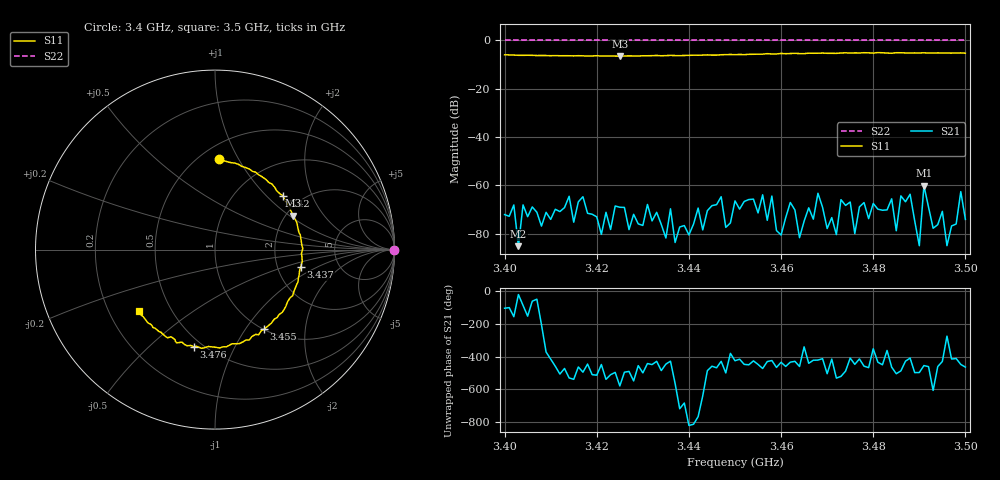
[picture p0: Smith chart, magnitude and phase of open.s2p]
!Created with skrf (http://scikit-rf.org).
# MHz S RI R 50.0
!freq ReS11 ImS11 ReS21 ImS21 ReS12 ImS12 ReS22 ImS22
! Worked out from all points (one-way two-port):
!   101 points, 3.4 GHz to 3.5 GHz, reference 50 ohm
!   highest |S21| = -60.09 dB at 3.491 GHz (marker M1); lowest = -85.1 dB at 3.403 GHz (marker M2)
!   lowest |S11| = -6.5 dB at 3.425 GHz (marker M3), VSWR 2.80, Z = 109 + j53.1 ohm
!   |S11| at or under -10 dB: nowhere
!   |S22| runs from 0.0 to 0.0 dB; largest |S21 - S12| = 0.00099
!   S11 on the Smith chart (normalised r, x): 3.4 GHz: 0.61, +0.83; 3.42 GHz: 1.60, +1.26; 3.437 GHz: 2.71, -0.68; 3.455 GHz: 1.01, -1.23; 3.476 GHz: 0.45, -0.70; 3.5 GHz: 0.33, -0.32
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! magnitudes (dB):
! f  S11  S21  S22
! 3.4 GHz  -5.9  -72.1  0.0
! 3.403 GHz  -6.1  -85.1  0.0
! 3.404 GHz  -6.2  -68.0  0.0
! 3.417 GHz  -6.4  -64.6  0.0
! 3.42 GHz  -6.3  -73.0  0.0
! 3.425 GHz  -6.5  -69.0  0.0
! 3.434 GHz  -6.3  -76.1  0.0
! 3.437 GHz  -6.2  -83.6  0.0
! 3.45 GHz  -5.9  -66.4  0.0
! 3.455 GHz  -5.7  -71.4  0.0
! 3.467 GHz  -5.3  -73.9  0.0
! 3.475 GHz  -5.2  -66.9  0.0
! 3.476 GHz  -5.1  -79.9  0.0
! 3.484 GHz  -5.3  -65.5  0.0
! 3.485 GHz  -5.1  -78.7  0.0
! 3.488 GHz  -5.2  -63.6  0.0
! 3.49 GHz  -5.2  -84.9  0.0
! 3.491 GHz  -5.1  -60.1  0.0
! 3.493 GHz  -5.2  -77.7  0.0
! 3.498 GHz  -5.2  -75.9  0.0
! 3.499 GHz  -5.1  -62.6  0.0
! 3.5 GHz  -5.3  -74.0  0.0
